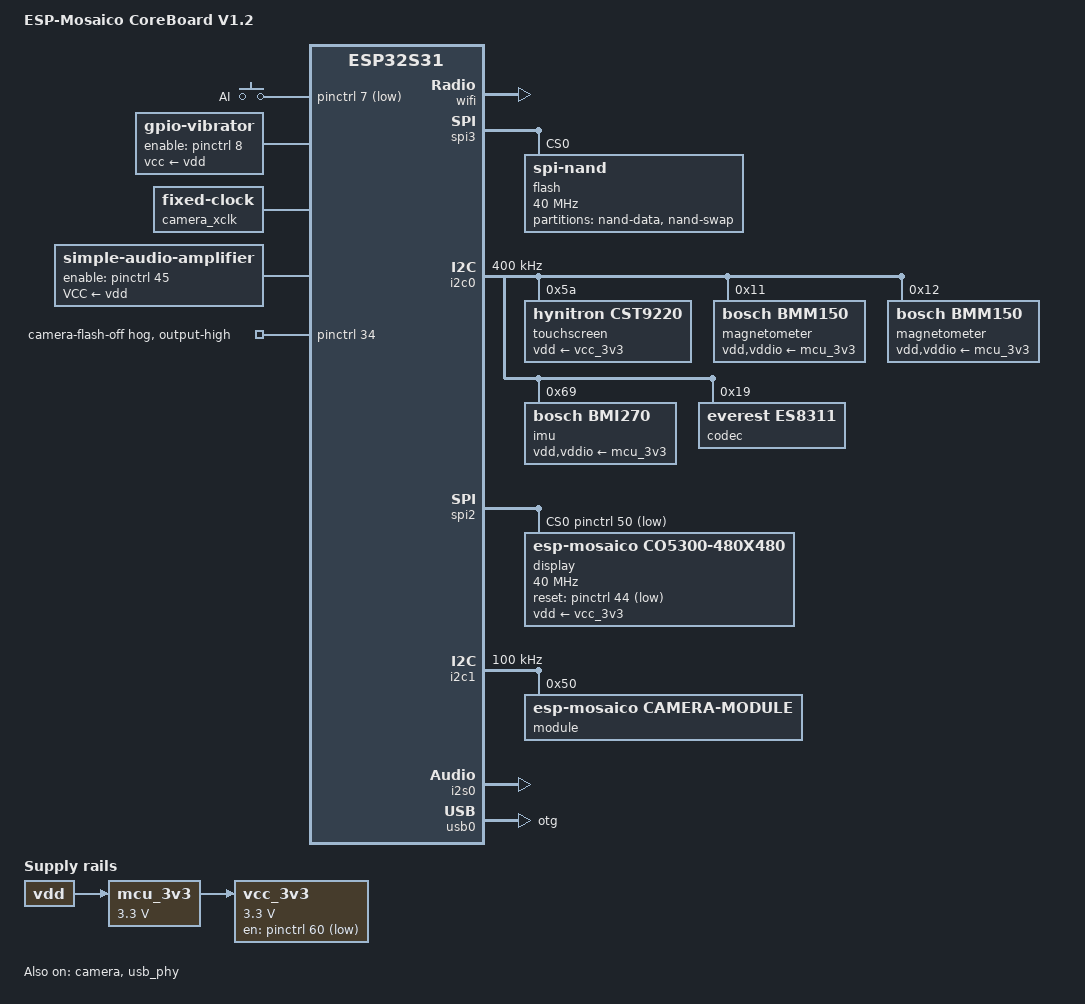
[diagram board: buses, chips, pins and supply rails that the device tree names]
// SPDX-License-Identifier: GPL-2.0+
/* ESP-Mosaico CoreBoard V1.2: 16 MiB NOR, 128 MiB NAND and 16 MiB PSRAM. */
/dts-v1/;
#include "esp32s31.dtsi"
#include <dt-bindings/gpio/gpio.h>
#include <dt-bindings/input/input.h>

/ {
	model = "ESP-Mosaico CoreBoard V1.2";
	compatible = "esp-mosaico,coreboard-v1.2", "esp,esp32s31";

	vdd: regulator-vdd {
		compatible = "regulator-fixed";
		regulator-name = "vdd";
		regulator-always-on;
	};

	mcu_3v3: regulator-mcu-3v3 {
		compatible = "regulator-fixed";
		regulator-name = "mcu-3v3";
		regulator-min-microvolt = <3300000>;
		regulator-max-microvolt = <3300000>;
		vin-supply = <&vdd>;
		regulator-always-on;
	};

	vcc_3v3: regulator-vcc-3v3 {
		compatible = "regulator-fixed";
		regulator-name = "vcc-3v3";
		regulator-min-microvolt = <3300000>;
		regulator-max-microvolt = <3300000>;
		vin-supply = <&mcu_3v3>;
		gpio = <&pinctrl 60 GPIO_ACTIVE_LOW>;
		regulator-always-on;
		startup-delay-us = <100000>;
	};

	keys {
		compatible = "gpio-keys";

		key-ai {
			label = "AI";
			linux,code = <KEY_PROG1>;
			gpios = <&pinctrl 7 (GPIO_ACTIVE_LOW | GPIO_PULL_UP)>;
			debounce-interval = <50>;
		};
	};

	vibrator {
		compatible = "gpio-vibrator";
		enable-gpios = <&pinctrl 8 GPIO_ACTIVE_HIGH>;
		vcc-supply = <&vdd>;
	};

	camera_xclk: camera-clock {
		compatible = "fixed-clock";
		#clock-cells = <0>;
		clock-frequency = <20000000>;
	};

	amplifier: audio-amplifier {
		compatible = "simple-audio-amplifier";
		enable-gpios = <&pinctrl 45 GPIO_ACTIVE_HIGH>;
		VCC-supply = <&vdd>;
		sound-name-prefix = "Amp";
	};

	sound {
		compatible = "simple-audio-card";
		simple-audio-card,name = "ESP-Mosaico";
		simple-audio-card,format = "i2s";
		simple-audio-card,mclk-fs = <256>;
		simple-audio-card,bitclock-master = <&sound_cpu>;
		simple-audio-card,frame-master = <&sound_cpu>;
		simple-audio-card,aux-devs = <&amplifier>;
		simple-audio-card,widgets = "Speaker", "Speaker",
					    "Microphone", "Microphone";
		/* Both logical channels of the generic amp end at the mono speaker. */
		simple-audio-card,routing = "Speaker", "Amp OUTL",
					   "Speaker", "Amp OUTR",
					   "Amp INL", "OUT",
					   "Amp INR", "OUT",
					   "MIC1", "Microphone";
		simple-audio-card,pin-switches = "Speaker";

		sound_cpu: simple-audio-card,cpu {
			sound-dai = <&i2s0>;
		};

		simple-audio-card,codec {
			sound-dai = <&codec>;
		};
	};

	chosen {
		stdout-path = "serial0:115200n8";
	};
};

&wifi {
	flash {
		partitions {
			compatible = "fixed-partitions";
			#address-cells = <1>;
			#size-cells = <1>;

			partition@0 {
				label = "rootfs";
				reg = <0x0 0x970000>;
				read-only;
			};
		};
	};
};

&pinctrl {
	/* GPIO33/34 are camera signals, not USB Serial/JTAG pads. */
	gpio-reserved-ranges = <26 7>, <41 1>, <58 2>;

	camera-flash-off-hog {
		gpio-hog;
		gpios = <34 GPIO_OPEN_DRAIN>;
		output-high;
		line-name = "camera-flash-off";
	};

	spi3_cfg: spi3-cfg {
		spi3-output-pins {
			pinmux = <ESP32S31_MATRIX_OUT(20, ESP32S31_SIG_SPI3_CLK)>,
				 <ESP32S31_MATRIX_OUT(23, ESP32S31_SIG_SPI3_CS0)>;
			bias-disable;
			drive-strength = <20>;
		};

		spi3-data-pins {
			pinmux = <ESP32S31_MATRIX_INOUT(21, ESP32S31_SIG_SPI3_D)>,
				 <ESP32S31_MATRIX_INOUT(22, ESP32S31_SIG_SPI3_Q)>,
				 <ESP32S31_MATRIX_INOUT(25, ESP32S31_SIG_SPI3_WP)>,
				 <ESP32S31_MATRIX_INOUT(24, ESP32S31_SIG_SPI3_HD)>;
			bias-pull-up;
			drive-strength = <20>;
		};
	};

	spi2_cfg: spi2-cfg {
		spi2-pins {
			pinmux = <ESP32S31_MATRIX_OUT(42, ESP32S31_SIG_SPI2_CLK)>,
				 <ESP32S31_MATRIX_OUT(36, ESP32S31_SIG_SPI2_D)>,
				 <ESP32S31_MATRIX_OUT(51, ESP32S31_SIG_SPI2_Q)>,
				 <ESP32S31_MATRIX_OUT(35, ESP32S31_SIG_SPI2_WP)>,
				 <ESP32S31_MATRIX_OUT(9, ESP32S31_SIG_SPI2_HD)>;
			bias-disable;
			drive-strength = <20>;
		};
	};

	i2c0_cfg: i2c0-cfg {
		i2c0-pins {
			pinmux = <ESP32S31_MATRIX_INOUT(56, ESP32S31_SIG_I2C0_SDA)>,
				 <ESP32S31_MATRIX_INOUT(3, ESP32S31_SIG_I2C0_SCL)>;
			bias-pull-up;
			drive-open-drain;
		};
	};

	i2c1_cfg: i2c1-cfg {
		i2c1-pins {
			pinmux = <ESP32S31_MATRIX_INOUT(0, ESP32S31_SIG_I2C1_SDA)>,
				 <ESP32S31_MATRIX_INOUT(1, ESP32S31_SIG_I2C1_SCL)>;
			bias-pull-up;
			drive-open-drain;
		};
	};

	camera_cfg: camera-cfg {
		camera-pins {
			pinmux = <ESP32S31_MATRIX_IN(16, ESP32S31_SIG_CAM_D0)>,
				 <ESP32S31_MATRIX_IN(15, ESP32S31_SIG_CAM_D1)>,
				 <ESP32S31_MATRIX_IN(33, ESP32S31_SIG_CAM_D2)>,
				 <ESP32S31_MATRIX_IN(4, ESP32S31_SIG_CAM_D3)>,
				 <ESP32S31_MATRIX_IN(14, ESP32S31_SIG_CAM_D4)>,
				 <ESP32S31_MATRIX_IN(12, ESP32S31_SIG_CAM_D5)>,
				 <ESP32S31_MATRIX_IN(18, ESP32S31_SIG_CAM_D6)>,
				 <ESP32S31_MATRIX_IN(13, ESP32S31_SIG_CAM_D7)>,
				 <ESP32S31_MATRIX_IN(17, ESP32S31_SIG_CAM_PCLK)>,
				 <ESP32S31_MATRIX_IN(19, ESP32S31_SIG_CAM_DE)>,
				 <ESP32S31_MATRIX_IN(55, ESP32S31_SIG_CAM_VSYNC)>;
			bias-disable;
			input-enable;
		};
	};

	i2s0_cfg: i2s0-cfg {
		i2s0-output-pins {
			pinmux = <ESP32S31_MATRIX_OUT(54, ESP32S31_SIG_I2S0_MCLK)>,
				 <ESP32S31_MATRIX_OUT(52, ESP32S31_SIG_I2S0_DOUT)>;
			bias-disable;
		};

		i2s0-input-pins {
			pinmux = <ESP32S31_MATRIX_IN(40, ESP32S31_SIG_I2S0_DIN)>;
			bias-disable;
			input-enable;
		};
	};

	i2s0_tx_cfg: i2s0-tx-cfg {
		i2s0-tx-clock-pins {
			pinmux = <ESP32S31_MATRIX_OUT(37, ESP32S31_SIG_I2S0_TX_BCLK)>,
				 <ESP32S31_MATRIX_OUT(49, ESP32S31_SIG_I2S0_TX_WS)>;
			bias-disable;
		};
	};

	i2s0_rx_cfg: i2s0-rx-cfg {
		i2s0-rx-clock-pins {
			pinmux = <ESP32S31_MATRIX_OUT(37, ESP32S31_SIG_I2S0_RX_BCLK)>,
				 <ESP32S31_MATRIX_OUT(49, ESP32S31_SIG_I2S0_RX_WS)>;
			bias-disable;
		};
	};
};

&spi3 {
	assigned-clocks = <&hp_clkrst ESP32S31_CLK_SPI3>;
	assigned-clock-rates = <80000000>;
	pinctrl-names = "default";
	pinctrl-0 = <&spi3_cfg>;
	status = "okay";

	flash@0 {
		compatible = "spi-nand";
		reg = <0>;
		spi-max-frequency = <40000000>;
		spi-tx-bus-width = <4>;
		spi-rx-bus-width = <4>;

		partitions {
			compatible = "fixed-partitions";
			#address-cells = <1>;
			#size-cells = <1>;

			partition@0 {
				label = "nand-data";
				reg = <0x0 0x6000000>;
			};

			partition@6000000 {
				label = "nand-swap";
				reg = <0x6000000 0x2000000>;
			};
		};
	};
};

&i2c0 {
	pinctrl-names = "default";
	pinctrl-0 = <&i2c0_cfg>;
	clock-frequency = <400000>;
	status = "okay";

	touchscreen@5a {
		compatible = "hynitron,cst9220";
		reg = <0x5a>;
		vdd-supply = <&vcc_3v3>;
		touchscreen-size-x = <480>;
		touchscreen-size-y = <480>;
	};

	magnetometer@11 {
		compatible = "bosch,bmm150";
		reg = <0x11>;
		vdd-supply = <&mcu_3v3>;
		vddio-supply = <&mcu_3v3>;
	};

	magnetometer@12 {
		compatible = "bosch,bmm150";
		reg = <0x12>;
		vdd-supply = <&mcu_3v3>;
		vddio-supply = <&mcu_3v3>;
	};

	imu@69 {
		compatible = "bosch,bmi270";
		reg = <0x69>;
		vdd-supply = <&mcu_3v3>;
		vddio-supply = <&mcu_3v3>;
	};

	codec: codec@19 {
		compatible = "everest,es8311";
		reg = <0x19>;
		clocks = <&hp_clkrst ESP32S31_CLK_I2S0_MCLK>;
		clock-names = "mclk";
		#sound-dai-cells = <0>;
	};
};

&spi2 {
	assigned-clocks = <&hp_clkrst ESP32S31_CLK_SPI2>;
	assigned-clock-rates = <80000000>;
	pinctrl-names = "default";
	pinctrl-0 = <&spi2_cfg>;
	cs-gpios = <&pinctrl 50 GPIO_ACTIVE_LOW>;
	status = "okay";

	display@0 {
		compatible = "esp-mosaico,co5300-480x480";
		reg = <0>;
		spi-max-frequency = <40000000>;
		spi-tx-bus-width = <4>;
		reset-gpios = <&pinctrl 44 GPIO_ACTIVE_LOW>;
		vdd-supply = <&vcc_3v3>;
	};
};

&i2c1 {
	pinctrl-names = "default";
	pinctrl-0 = <&i2c1_cfg>;
	clock-frequency = <100000>;
	status = "okay";

	module@50 {
		compatible = "esp-mosaico,camera-module";
		reg = <0x50>;
		sensor = <&sc101iot>;
	};

	sc101iot: camera@68 {
		compatible = "smartsens,sc101iot";
		reg = <0x68>;
		clocks = <&camera_xclk>;
		vdd-supply = <&vcc_3v3>;
		powerdown-gpios = <&pinctrl 48 GPIO_ACTIVE_HIGH>;
		/* The module manager creates this client only while present. */
		status = "disabled";

		port {
			sc101iot_out: endpoint {
				remote-endpoint = <&camera_in>;
				bus-width = <8>;
				hsync-active = <1>;
				vsync-active = <0>;
				pclk-sample = <1>;
			};
		};
	};
};

&axi_dma { status = "okay"; };

&camera {
	pinctrl-names = "default";
	pinctrl-0 = <&camera_cfg>;
	status = "okay";

	port {
		camera_in: endpoint {
			remote-endpoint = <&sc101iot_out>;
			bus-width = <8>;
			hsync-active = <1>;
			vsync-active = <0>;
			pclk-sample = <1>;
		};
	};
};

&ahb_dma { status = "okay"; };

&i2s0 {
	pinctrl-names = "default", "capture";
	pinctrl-0 = <&i2s0_cfg &i2s0_tx_cfg>;
	pinctrl-1 = <&i2s0_cfg &i2s0_rx_cfg>;
	status = "okay";
};

&usb_phy { status = "okay"; };

&usb0 {
	dr_mode = "otg";
	/* HUSB320 controls VBUS, but its ID and I2C pins are not routed to the SoC. */
	usb-role-switch;
	role-switch-default-mode = "peripheral";
	g-rx-fifo-size = <384>;
	g-np-tx-fifo-size = <64>;
	g-tx-fifo-size = <128 128 16 16 16 16 16>;
	status = "okay";
};
